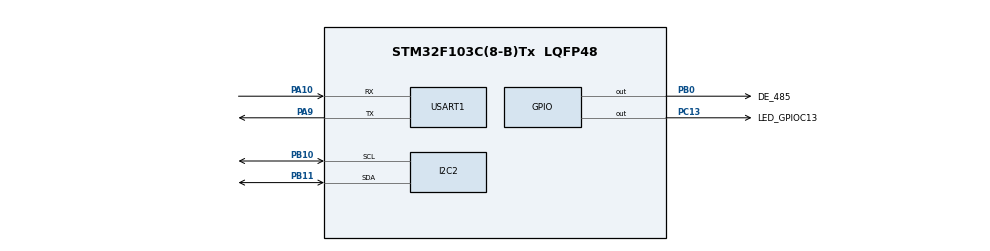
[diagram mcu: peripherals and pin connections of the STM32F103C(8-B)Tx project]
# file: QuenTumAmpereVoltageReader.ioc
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FREERTOS.Tasks01=defaultTask,0,128,StartDefaultTask,Default,NULL,Dynamic,NULL,NULL
Mcu.Family=STM32F1
Mcu.Name=STM32F103C(8-B)Tx
Mcu.Package=LQFP48
NVIC.PriorityGroup=NVIC_PRIORITYGROUP_4
NVIC.USART1_IRQn=true\:5\:0\:false\:false\:true\:true\:true\:true\:true
PA10.Mode=Asynchronous
PA10.Signal=USART1_RX
PA13.Mode=Serial_Wire
PA13.Signal=SYS_JTMS-SWDIO
PA14.Mode=Serial_Wire
PA14.Signal=SYS_JTCK-SWCLK
PA9.Mode=Asynchronous
PA9.Signal=USART1_TX
PB0.GPIO_Label=DE_485
PB0.Signal=GPIO_Output
PB10.Mode=I2C
PB10.Signal=I2C2_SCL
PB11.Mode=I2C
PB11.Signal=I2C2_SDA
PC13-TAMPER-RTC.GPIO_Label=LED_GPIOC13
PC13-TAMPER-RTC.Signal=GPIO_Output
ProjectManager.HeapSize=0x200
ProjectManager.StackSize=0x400
ProjectManager.TargetToolchain=STM32CubeIDE
RCC.AHBFreq_Value=8000000
RCC.APB1Freq_Value=8000000
RCC.APB1TimFreq_Value=8000000
RCC.APB2Freq_Value=8000000
RCC.APB2TimFreq_Value=8000000
RCC.HCLKFreq_Value=8000000
USART1.VirtualMode=VM_ASYNC
VP_FREERTOS_VS_CMSIS_V1.Mode=CMSIS_V1
board=custom

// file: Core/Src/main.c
/* USER CODE BEGIN Header */
/**
 ******************************************************************************
 * @file           : main.c
 * @brief          : Main program body
 ******************************************************************************
 * @attention
 *
 * Copyright (c) 2022 STMicroelectronics.
 * All rights reserved.
 *
 * This software is licensed under terms that can be found in the LICENSE file
 * in the root directory of this software component.
 * If no LICENSE file comes with this software, it is provided AS-IS.
 *
 ******************************************************************************
 */
/* USER CODE END Header */
#include "main.h"
#include "cmsis_os.h"

/* USER CODE BEGIN Includes */
#include  <stdio.h>
#include <string.h>
#include "modbus.h"
/* USER CODE END Includes */

I2C_HandleTypeDef hi2c2;

UART_HandleTypeDef huart1;

osThreadId defaultTaskHandle;
/* USER CODE BEGIN PV */
INA219_t ina219;
uint16_t vbus, vshunt, current;
/* USER CODE END PV */

void SystemClock_Config(void);
static void MX_GPIO_Init(void);
static void MX_USART1_UART_Init(void);
static void MX_I2C2_Init(void);
void StartDefaultTask(void const * argument);

uint8_t receive_buffer[20];

#include "stm32f1xx_hal_flash.h"
uint16_t uartRecieCount=0;
void HAL_UART_RxCpltCallback(UART_HandleTypeDef *huart)
{
	//receive_buffer[uartRecieCount]  =(uint8_t *)huart->pRxBuffPtr;
	//HAL_UART_Receive_it(&huart1, &receive_buffer[uartRecieCount],1, 33);
	//uartRecieCount++;
}

HAL_StatusTypeDef HAL_UART_Transmit_IT_485(UART_HandleTypeDef *huart, uint8_t *pData, uint16_t Size){
	HAL_GPIO_WritePin(DE_485_GPIO_Port, DE_485_Pin, GPIO_PIN_SET);
	HAL_StatusTypeDef  ret = HAL_UART_Transmit_IT(huart, pData, Size);
	return ret;
}
void HAL_UART_TxCpltCallback(UART_HandleTypeDef *huart)
{
	HAL_StatusTypeDef	st;
	UNUSED(st);

	if(huart == (UART_HandleTypeDef *)&huart1)
	{
		HAL_GPIO_WritePin(DE_485_GPIO_Port, DE_485_Pin, GPIO_PIN_RESET);
	}
}
HAL_StatusTypeDef FLASH_Program_485(uint32_t Address)
{
  uint32_t status = HAL_ERROR;

  HAL_FLASH_Unlock();
  FLASH_EraseInitTypeDef EraseInitStruct;
  EraseInitStruct.TypeErase   = FLASH_TYPEERASE_PAGES;
  EraseInitStruct.PageAddress = FLASH_USER_START_ADDR;
  EraseInitStruct.NbPages     = (FLASH_USER_END_ADDR - FLASH_USER_START_ADDR) / FLASH_PAGE_SIZE;
  HAL_FLASHEx_Erase(&EraseInitStruct, &status);    //return HAL_OK if success
  HAL_FLASH_Lock();

  HAL_FLASH_Unlock();
  HAL_FLASH_Program(FLASH_TYPEPROGRAM_DOUBLEWORD,FLASH_USER_START_ADDR,Address);
  HAL_FLASH_Lock();
  status=  HAL_FLASH_GetError();

  return status;
}
int main(void)
{

  /* MCU Configuration--------------------------------------------------------*/

  /* Reset of all peripherals, Initializes the Flash interface and the Systick. */
  HAL_Init();

  /* Configure the system clock */
  SystemClock_Config();

  /* Initialize all configured peripherals */
  MX_GPIO_Init();
  MX_USART1_UART_Init();
  MX_I2C2_Init();
  // Read 485 Address from flash memory

  //FLASH_Program_485(1);
  int16_t address_485=  * ((uint16_t *) FLASH_USER_START_ADDR);
  if( address_485 >= 0x02 && address_485 <= 128){
	  //유효한 데이타이다.
  }
  else{

	  FLASH_Program_485(1);
  }
  address_485=  * ((uint16_t *) FLASH_USER_START_ADDR);

  /* Create the thread(s) */
  /* definition and creation of defaultTask */
  osThreadDef(defaultTask, StartDefaultTask, osPriorityNormal, 0, 128);
  defaultTaskHandle = osThreadCreate(osThread(defaultTask), NULL);

  /* USER CODE BEGIN RTOS_THREADS */
  ModBus_Init();
  ModBus_SetAddress(address_485);
  /* add threads, ... */
  /* USER CODE END RTOS_THREADS */

  /* Start scheduler */
  osKernelStart();

  /* We should never get here as control is now taken by the scheduler */
  /* Infinite loop */
  while (1)
  {
  }
}

void SystemClock_Config(void)
{
  RCC_OscInitTypeDef RCC_OscInitStruct = {0};
  RCC_ClkInitTypeDef RCC_ClkInitStruct = {0};

  /** Initializes the RCC Oscillators according to the specified parameters
  * in the RCC_OscInitTypeDef structure.
  */
  RCC_OscInitStruct.OscillatorType = RCC_OSCILLATORTYPE_HSI;
  RCC_OscInitStruct.HSIState = RCC_HSI_ON;
  RCC_OscInitStruct.HSICalibrationValue = RCC_HSICALIBRATION_DEFAULT;
  RCC_OscInitStruct.PLL.PLLState = RCC_PLL_NONE;
  if (HAL_RCC_OscConfig(&RCC_OscInitStruct) != HAL_OK)
  {
    Error_Handler();
  }

  /** Initializes the CPU, AHB and APB buses clocks
  */
  RCC_ClkInitStruct.ClockType = RCC_CLOCKTYPE_HCLK|RCC_CLOCKTYPE_SYSCLK
                              |RCC_CLOCKTYPE_PCLK1|RCC_CLOCKTYPE_PCLK2;
  RCC_ClkInitStruct.SYSCLKSource = RCC_SYSCLKSOURCE_HSI;
  RCC_ClkInitStruct.AHBCLKDivider = RCC_SYSCLK_DIV1;
  RCC_ClkInitStruct.APB1CLKDivider = RCC_HCLK_DIV1;
  RCC_ClkInitStruct.APB2CLKDivider = RCC_HCLK_DIV1;

  if (HAL_RCC_ClockConfig(&RCC_ClkInitStruct, FLASH_LATENCY_0) != HAL_OK)
  {
    Error_Handler();
  }
}

static void MX_I2C2_Init(void)
{

  hi2c2.Instance = I2C2;
  hi2c2.Init.ClockSpeed = 100000;
  hi2c2.Init.DutyCycle = I2C_DUTYCYCLE_2;
  hi2c2.Init.OwnAddress1 = 0;
  hi2c2.Init.AddressingMode = I2C_ADDRESSINGMODE_7BIT;
  hi2c2.Init.DualAddressMode = I2C_DUALADDRESS_DISABLE;
  hi2c2.Init.OwnAddress2 = 0;
  hi2c2.Init.GeneralCallMode = I2C_GENERALCALL_DISABLE;
  hi2c2.Init.NoStretchMode = I2C_NOSTRETCH_DISABLE;
  if (HAL_I2C_Init(&hi2c2) != HAL_OK)
  {
    Error_Handler();
  }

}

static void MX_USART1_UART_Init(void)
{

  huart1.Instance = USART1;
  huart1.Init.BaudRate = 9600;
  huart1.Init.WordLength = UART_WORDLENGTH_8B;
  huart1.Init.StopBits = UART_STOPBITS_1;
  huart1.Init.Parity = UART_PARITY_NONE;
  huart1.Init.Mode = UART_MODE_TX_RX;
  huart1.Init.HwFlowCtl = UART_HWCONTROL_NONE;
  huart1.Init.OverSampling = UART_OVERSAMPLING_16;
  if (HAL_UART_Init(&huart1) != HAL_OK)
  {
    Error_Handler();
  }

}

static void MX_GPIO_Init(void)
{
  GPIO_InitTypeDef GPIO_InitStruct = {0};

  /* GPIO Ports Clock Enable */
  __HAL_RCC_GPIOC_CLK_ENABLE();
  __HAL_RCC_GPIOB_CLK_ENABLE();
  __HAL_RCC_GPIOA_CLK_ENABLE();

  /*Configure GPIO pin Output Level */
  HAL_GPIO_WritePin(LED_GPIOC13_GPIO_Port, LED_GPIOC13_Pin, GPIO_PIN_RESET);

  /*Configure GPIO pin Output Level */
  HAL_GPIO_WritePin(DE_485_GPIO_Port, DE_485_Pin, GPIO_PIN_RESET);

  /*Configure GPIO pin Output Level */
  HAL_GPIO_WritePin(GPIOB,GPIO_PIN_10 , GPIO_PIN_RESET);

  /*Configure GPIO pin Output Level */
  HAL_GPIO_WritePin(GPIOB,GPIO_PIN_11 , GPIO_PIN_RESET);

  /*Configure GPIO pin : LED_GPIOC13_Pin */
  GPIO_InitStruct.Pin = LED_GPIOC13_Pin;
  GPIO_InitStruct.Mode = GPIO_MODE_OUTPUT_PP;
  GPIO_InitStruct.Pull = GPIO_NOPULL;
  GPIO_InitStruct.Speed = GPIO_SPEED_FREQ_LOW;
  HAL_GPIO_Init(LED_GPIOC13_GPIO_Port, &GPIO_InitStruct);

  /*Configure GPIO pin : DE_485_Pin */
  GPIO_InitStruct.Pin = DE_485_Pin;
  GPIO_InitStruct.Mode = GPIO_MODE_OUTPUT_PP;
  GPIO_InitStruct.Pull = GPIO_NOPULL;
  GPIO_InitStruct.Speed = GPIO_SPEED_FREQ_LOW;
  HAL_GPIO_Init(DE_485_GPIO_Port, &GPIO_InitStruct);

  /*Configure GPIO pin : DE_485_Pin */
  GPIO_InitStruct.Pin = GPIO_PIN_10;
  GPIO_InitStruct.Mode = GPIO_MODE_AF_OD;
  GPIO_InitStruct.Speed = GPIO_SPEED_FREQ_LOW;
  HAL_GPIO_Init(GPIOB, &GPIO_InitStruct);

  /*Configure GPIO pin : DE_485_Pin */
  GPIO_InitStruct.Pin = GPIO_PIN_11;
  GPIO_InitStruct.Mode = GPIO_MODE_AF_OD;
  GPIO_InitStruct.Speed = GPIO_SPEED_FREQ_LOW;
  HAL_GPIO_Init(GPIOB, &GPIO_InitStruct);
}

//extern osMessageQId ModBusInHandle;
void ReceiveClear(){
	HAL_StatusTypeDef ret;
	for(int i=0;i<10;i++) {
		ret =  HAL_UART_Receive(&huart1, receive_buffer,1, 6);
		if( ret != HAL_OK) return;
		osDelay(10);
	}
	//HAL_UART_AbortReceive_IT	(&huart1);
//	HAL_StatusTypeDef ret;
//	ret = huart1.RxState ;// HAL_UART_STATE_READY;
//	while( huart1.RxState != HAL_UART_STATE_READY){
//			ret=
//	}
}
void ReceiveErrorFromUsart(){
	while(HAL_OK !=  HAL_UART_Receive(&huart1, receive_buffer,1, 10));
}
void ReadUsartAndMessagePut(){
//	uint16_t iPos=0;
//	iPos++;  //We Receive 1 Byte from Rx interrupt

	//int16_t address_485=  * ((uint16_t *) FLASH_USER_START_ADDR);
//	osMessagePut(ModBusInHandle,receive_buffer[iPos++],0);
//		return;
//	}
	// Check ID
//	if(receive_buffer[0] != address_485 ){
//		return;
//	}
	// Now We Receive data until timeout reached
//			iPos++;
//	}

	for(int iii=0;iii<8;iii++){
		osMessagePut(ModBusInHandle,receive_buffer[iii],0);
	}

}
//#define TESTDEBUG
void receiveAgain(){
  //HAL_UART_Receive_IT(&huart1, receive_buffer, 8);
}
void StartDefaultTask(void const * argument)
{
  /* USER CODE BEGIN 5 */
	//uint8_t buffer[128];
  /* Infinite loop */

		// 0x01 0x04 0x00 0x00 0x00 0x04 0xF1 0xC9
		//for test code

	HAL_GPIO_WritePin(GPIOC, GPIO_PIN_13,GPIO_PIN_SET);
	HAL_GPIO_WritePin(DE_485_GPIO_Port, DE_485_Pin, GPIO_PIN_SET);
	HAL_GPIO_WritePin(DE_485_GPIO_Port, DE_485_Pin, GPIO_PIN_RESET);
    // INA219_setPowerMode(&ina219, INA219_CONFIG_MODE_ADCOFF);

#ifndef TESTDEBUG
    while (!INA219_Init(&ina219, &hi2c2, INA219_ADDRESS)){
      HAL_GPIO_TogglePin(GPIOC, GPIO_PIN_13);
      HAL_GPIO_TogglePin(DE_485_GPIO_Port, DE_485_Pin);
      osDelay(50);

    }
#endif

    //HAL_UART_Receive_IT(&huart1, receive_buffer, 8);
    for (;;)
    {
    	uartRecieCount=0;
    	if( HAL_OK == HAL_UART_Receive((UART_HandleTypeDef *)&huart1,(uint8_t *)&receive_buffer[uartRecieCount],8, 100))
    	{
    		//나의 데이타가 맞으므로 읽는다.
    		if(receive_buffer[0] == * ((uint16_t *) FLASH_USER_START_ADDR) || receive_buffer[0] == 128){
    			//uartRecieCount++;
    			// 1char 1.2ms * 8 = 9.6ms
				HAL_GPIO_TogglePin(GPIOC, GPIO_PIN_13);
				ReadUsartAndMessagePut(); //Read All data and flush buffer
				HAL_GPIO_TogglePin(GPIOC, GPIO_PIN_13);
    			//}
    		}

    	}
    	else {
    		memset(receive_buffer,0x00,sizeof(receive_buffer));
    		ReceiveClear();
    	}

//#ifndef TESTDEBUG
//      vbus = INA219_ReadBusVoltage(&ina219);
//      vshunt = INA219_ReadShuntVolage(&ina219);
//      current = INA219_ReadCurrent(&ina219);
//#endif

	  //int16_t address_485;
	  //address_485 =  * ((uint16_t *) FLASH_USER_START_ADDR);
	  //memset(buffer,0x00,5);
	  //memcpy(buffer,"485Address is  %d\r\n",sizeof("485Address is  %d\r\n"));
	  //sprintf((char *)buffer,"485Address is  %d\r\n",address_485);

	  //HAL_GPIO_WritePin(DE_485_GPIO_Port, DE_485_Pin, GPIO_PIN_SET);
	  //HAL_UART_Transmit(&huart1, buffer, sizeof(buffer), HAL_MAX_DELAY);
	  //HAL_GPIO_WritePin(DE_485_GPIO_Port, DE_485_Pin, GPIO_PIN_RESET);
	  //HAL_UART_Transmit_IT_485(&huart1, buffer, sizeof(buffer) );
      //sprintf((char *)buffer,"vbus %d, vshunt %d, current %d\r\n",vbus,vshunt,current);
      //osDelay(50);
      //HAL_GPIO_TogglePin(GPIOC, GPIO_PIN_13);
      //HAL_GPIO_TogglePin(GPIOC, GPIO_PIN_13);

      //HAL_UART_Transmit_IT(&huart1, buffer, sizeof(buffer) ); // Not going to 485
      //osDelay(1000);
    }
  /* USER CODE END 5 */
}

void Error_Handler(void)
{
  __disable_irq();
  while (1)
  {
  }
}

      /*  Test for 4 command
		uint8_t iii=0;
      	osDelay(1000);
		buffer[iii++]=0x01;
		buffer[iii++]=0x04;
		buffer[iii++]=0x00;
		buffer[iii++]=0x00;
		buffer[iii++]=0x00;
		buffer[iii++]=0x04;
		buffer[iii++]=0xF1;
		buffer[iii++]=0xC9;
		for(iii=0;iii<8;iii++){
			osMessagePut(ModBusInHandle,buffer[iii],0);
		}
		*/
      /*  Test for 5 command change 485 ID */
//		uint8_t iii=0;
//      	osDelay(1000);
//		buffer[iii++]=0x01;
//		buffer[iii++]=0x05;
//		buffer[iii++]=0x00;
//		buffer[iii++]=0x00;
//		buffer[iii++]=0x00;
//		buffer[iii++]=0x02;  // 2로 바꿔라.
//		buffer[iii++]=0x4c;
//		buffer[iii++]=0x0b;
//		for(iii=0;iii<8;iii++){
//			osMessagePut(ModBusInHandle,buffer[iii],0);
//		}
//	  HAL_UART_Transmit_IT_485(&huart1, buffer, iii );
